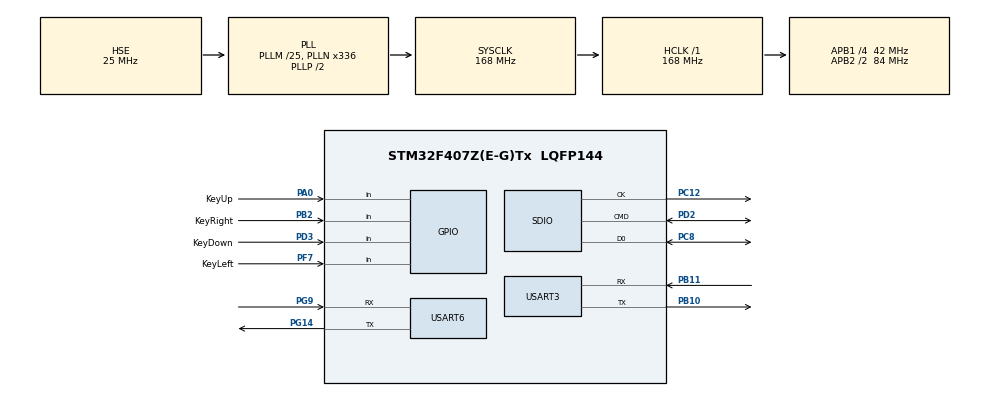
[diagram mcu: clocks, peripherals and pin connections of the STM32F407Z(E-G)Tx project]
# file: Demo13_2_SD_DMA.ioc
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Dma.Request0=SDIO_RX
Dma.Request1=SDIO_TX
Dma.SDIO_RX.0.Direction=DMA_PERIPH_TO_MEMORY
Dma.SDIO_RX.0.FIFOMode=DMA_FIFOMODE_ENABLE
Dma.SDIO_RX.0.FIFOThreshold=DMA_FIFO_THRESHOLD_FULL
Dma.SDIO_RX.0.Instance=DMA2_Stream3
Dma.SDIO_RX.0.MemBurst=DMA_MBURST_INC4
Dma.SDIO_RX.0.MemDataAlignment=DMA_MDATAALIGN_WORD
Dma.SDIO_RX.0.MemInc=DMA_MINC_ENABLE
Dma.SDIO_RX.0.Mode=DMA_PFCTRL
Dma.SDIO_RX.0.PeriphBurst=DMA_PBURST_INC4
Dma.SDIO_RX.0.PeriphDataAlignment=DMA_PDATAALIGN_WORD
Dma.SDIO_RX.0.PeriphInc=DMA_PINC_DISABLE
Dma.SDIO_RX.0.Priority=DMA_PRIORITY_MEDIUM
Dma.SDIO_TX.1.Direction=DMA_MEMORY_TO_PERIPH
Dma.SDIO_TX.1.FIFOMode=DMA_FIFOMODE_ENABLE
Dma.SDIO_TX.1.FIFOThreshold=DMA_FIFO_THRESHOLD_FULL
Dma.SDIO_TX.1.Instance=DMA2_Stream6
Dma.SDIO_TX.1.MemBurst=DMA_MBURST_INC4
Dma.SDIO_TX.1.MemDataAlignment=DMA_MDATAALIGN_WORD
Dma.SDIO_TX.1.MemInc=DMA_MINC_ENABLE
Dma.SDIO_TX.1.Mode=DMA_PFCTRL
Dma.SDIO_TX.1.PeriphBurst=DMA_PBURST_INC4
Dma.SDIO_TX.1.PeriphDataAlignment=DMA_PDATAALIGN_WORD
Dma.SDIO_TX.1.PeriphInc=DMA_PINC_DISABLE
Dma.SDIO_TX.1.Priority=DMA_PRIORITY_MEDIUM
Mcu.Family=STM32F4
Mcu.Name=STM32F407Z(E-G)Tx
Mcu.Package=LQFP144
NVIC.DMA2_Stream3_IRQn=true\:2\:0\:true\:false\:true\:false\:true\:true
NVIC.DMA2_Stream6_IRQn=true\:2\:0\:true\:false\:true\:false\:true\:true
NVIC.PriorityGroup=NVIC_PRIORITYGROUP_4
NVIC.SDIO_IRQn=true\:1\:0\:true\:false\:true\:true\:true\:true
PA0-WKUP.GPIO_Label=KeyUp
PA0-WKUP.GPIO_PuPd=GPIO_PULLUP
PA0-WKUP.Signal=GPIO_Input
PA13.Mode=Serial_Wire
PA13.Signal=SYS_JTMS-SWDIO
PA14.Mode=Serial_Wire
PA14.Signal=SYS_JTCK-SWCLK
PB10.Mode=Asynchronous
PB10.Signal=USART3_TX
PB11.Mode=Asynchronous
PB11.Signal=USART3_RX
PB2.GPIO_Label=KeyRight
PB2.GPIO_PuPd=GPIO_PULLUP
PB2.Signal=GPIO_Input
PC12.Mode=SD_1_bit
PC12.Signal=SDIO_CK
PC8.Mode=SD_1_bit
PC8.Signal=SDIO_D0
PD2.Mode=SD_1_bit
PD2.Signal=SDIO_CMD
PD3.GPIO_Label=KeyDown
PD3.GPIO_PuPd=GPIO_PULLUP
PD3.Signal=GPIO_Input
PF7.GPIO_Label=KeyLeft
PF7.GPIO_PuPd=GPIO_PULLUP
PF7.Signal=GPIO_Input
PG14.Mode=Asynchronous
PG14.Signal=USART6_TX
PG9.Mode=Asynchronous
PG9.Signal=USART6_RX
PH0-OSC_IN.Mode=HSE-External-Oscillator
PH0-OSC_IN.Signal=RCC_OSC_IN
PH1-OSC_OUT.Mode=HSE-External-Oscillator
PH1-OSC_OUT.Signal=RCC_OSC_OUT
ProjectManager.HeapSize=0x200
ProjectManager.StackSize=0x400
ProjectManager.TargetToolchain=STM32CubeIDE
RCC.48MHZClocksFreq_Value=48000000
RCC.AHBFreq_Value=168000000
RCC.APB1CLKDivider=RCC_HCLK_DIV4
RCC.APB1Freq_Value=42000000
RCC.APB1TimFreq_Value=84000000
RCC.APB2CLKDivider=RCC_HCLK_DIV2
RCC.APB2Freq_Value=84000000
RCC.APB2TimFreq_Value=168000000
RCC.CortexFreq_Value=168000000
RCC.HCLKFreq_Value=168000000
RCC.HSE_VALUE=25000000
RCC.HSI_VALUE=16000000
RCC.LSE_VALUE=32768
RCC.PLLM=25
RCC.PLLN=336
RCC.PLLQ=7
RCC.PLLSourceVirtual=RCC_PLLSOURCE_HSE
RCC.SYSCLKFreq_VALUE=168000000
RCC.SYSCLKSource=RCC_SYSCLKSOURCE_PLLCLK
RCC.VCOOutputFreq_Value=336000000
SDIO.ClockDiv=255
USART3.VirtualMode=VM_ASYNC
USART6.VirtualMode=VM_ASYNC
board=custom

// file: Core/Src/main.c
/* USER CODE BEGIN Header */
/**
  ******************************************************************************
  * @file           : main.c
  * @brief          : Main program body
  ******************************************************************************
  * @attention
  *
  * Copyright (c) 2025 STMicroelectronics.
  * All rights reserved.
  *
  * This software is licensed under terms that can be found in the LICENSE file
  * in the root directory of this software component.
  * If no LICENSE file comes with this software, it is provided AS-IS.
  *
  ******************************************************************************
  */
/* USER CODE END Header */
#include "main.h"
#include "dma.h"
#include "sdio.h"
#include "usart.h"
#include "gpio.h"

/* USER CODE BEGIN Includes */
#include "keyled.h"
#include <stdio.h>
/* USER CODE END Includes */

/* USER CODE BEGIN PV */
uint8_t SDBuf_TX[BLOCKSIZE];	//Data Sending Cache, BLOCKSIZE=512
uint8_t SDBuf_RX[BLOCKSIZE];	//Data Received Cache
/* USER CODE END PV */

void SystemClock_Config(void);

int main(void)
{

  /* MCU Configuration--------------------------------------------------------*/

  /* Reset of all peripherals, Initializes the Flash interface and the Systick. */
  HAL_Init();

  /* Configure the system clock */
  SystemClock_Config();

  /* Initialize all configured peripherals */
  MX_GPIO_Init();
  MX_DMA_Init();
  MX_USART6_UART_Init();
  MX_USART3_UART_Init();
  MX_SDIO_SD_Init();
  /* USER CODE BEGIN 2 */
  uint8_t startstr[] = "Demo13_2: SD card R/W-DMA. \r\n";
  HAL_UART_Transmit(&huart3,startstr,sizeof(startstr),0xFFFF);

  uint8_t startstr1[] = "Read/write SD card via DMA. \r\n\r\n";
  HAL_UART_Transmit(&huart3,startstr1,sizeof(startstr1),0xFFFF);

  //show menu
  printf("[S2]KeyUp   =SD card info. \r\n");
  printf("[S3]KeyDown =Erase 0-10 blocks. \r\n");
  printf("[S4]KeyLeft =Write block. \r\n");
  printf("[S1]KeyRight=Read block. \r\n\r\n");

  while(1)
  {
	  KEYS waitKey=ScanPressedKey(KEY_WAIT_ALWAYS);	//Waiting for the key

	  if (waitKey==KEY_UP)
		{
			SDCard_ShowInfo();
			printf("Reselect menu item or reset. \r\n");
		}
		else if (waitKey== KEY_DOWN)
		{
			SDCard_EraseBlocks();			//EraseBlocks 0-10
			printf("Reselect menu item or reset. \r\n");
		}
		else if (waitKey== KEY_LEFT)
			SDCard_TestWrite_DMA();
		else if (waitKey== KEY_RIGHT)
			SDCard_TestRead_DMA();

		HAL_Delay(500);
  }
  /* USER CODE END 2 */

  /* Infinite loop */
  while (1)
  {

  }
}

void SystemClock_Config(void)
{
  RCC_OscInitTypeDef RCC_OscInitStruct = {0};
  RCC_ClkInitTypeDef RCC_ClkInitStruct = {0};

  /** Configure the main internal regulator output voltage
  */
  __HAL_RCC_PWR_CLK_ENABLE();
  __HAL_PWR_VOLTAGESCALING_CONFIG(PWR_REGULATOR_VOLTAGE_SCALE1);

  /** Initializes the RCC Oscillators according to the specified parameters
  * in the RCC_OscInitTypeDef structure.
  */
  RCC_OscInitStruct.OscillatorType = RCC_OSCILLATORTYPE_HSE;
  RCC_OscInitStruct.HSEState = RCC_HSE_ON;
  RCC_OscInitStruct.PLL.PLLState = RCC_PLL_ON;
  RCC_OscInitStruct.PLL.PLLSource = RCC_PLLSOURCE_HSE;
  RCC_OscInitStruct.PLL.PLLM = 25;
  RCC_OscInitStruct.PLL.PLLN = 336;
  RCC_OscInitStruct.PLL.PLLP = RCC_PLLP_DIV2;
  RCC_OscInitStruct.PLL.PLLQ = 7;
  if (HAL_RCC_OscConfig(&RCC_OscInitStruct) != HAL_OK)
  {
    Error_Handler();
  }

  /** Initializes the CPU, AHB and APB buses clocks
  */
  RCC_ClkInitStruct.ClockType = RCC_CLOCKTYPE_HCLK|RCC_CLOCKTYPE_SYSCLK
                              |RCC_CLOCKTYPE_PCLK1|RCC_CLOCKTYPE_PCLK2;
  RCC_ClkInitStruct.SYSCLKSource = RCC_SYSCLKSOURCE_PLLCLK;
  RCC_ClkInitStruct.AHBCLKDivider = RCC_SYSCLK_DIV1;
  RCC_ClkInitStruct.APB1CLKDivider = RCC_HCLK_DIV4;
  RCC_ClkInitStruct.APB2CLKDivider = RCC_HCLK_DIV2;

  if (HAL_RCC_ClockConfig(&RCC_ClkInitStruct, FLASH_LATENCY_5) != HAL_OK)
  {
    Error_Handler();
  }
}

/* USER CODE BEGIN 4 */
/* HAL_SD_GetCardInfo(), Display SD card information */
void SDCard_ShowInfo()
{
	HAL_SD_CardInfoTypeDef cardInfo;  //SD card information structure
	HAL_StatusTypeDef res=HAL_SD_GetCardInfo(&hsd, &cardInfo);

	if (res!=HAL_OK)
	{
		printf("HAL_SD_GetCardInfo() error. \r\n");
		return;
	}

	printf("*** HAL_SD_GetCardInfo() info *** \r\n\r\n");

	printf("Card Type= %ld \r\n", cardInfo.CardType);
	printf("Card Version= %ld \r\n", cardInfo.CardVersion);
	printf("Card Class= %ld \r\n", cardInfo.Class);
	printf("Relative Card Address= %ld \r\n", cardInfo.RelCardAdd);
	printf("Block Count= %ld \r\n", cardInfo.BlockNbr);
	printf("Block Size(Bytes)= %ld \r\n", cardInfo.BlockSize);
	printf("LogiBlockCount= %ld \r\n", cardInfo.LogBlockNbr);
	printf("LogiBlockSize(Bytes)= %ld \r\n", cardInfo.LogBlockSize);

	uint32_t cap = cardInfo.BlockNbr/1024;	//KB
	cap	= cap*cardInfo.BlockSize;			//KB
	cap = cap/1024;							//MB

	printf("SD Card Capacity(MB)= %ld \r\n\r\n", cap);
}

/* HAL_SD_Erase(), Erase SD card Blocks*/
void SDCard_EraseBlocks()
{
	uint32_t BlockAddrStart=0; 	// Block 0��Addresses using block number
	uint32_t BlockAddrEnd=10; 	// Block 10

	printf("\r\n*** Erasing blocks *** \r\n\r\n");

	if (HAL_SD_Erase(&hsd,BlockAddrStart, BlockAddrEnd)==HAL_OK)
	{
		printf("Erasing blocks,OK. \r\n");
		printf("Blocks 0-10 is erased. \r\n");
	}
	else
		printf("Erasing blocks,fail. \r\n");

	HAL_SD_CardStateTypeDef cardState=HAL_SD_GetCardState(&hsd);
	printf("GetCardState()= %ld \r\n", cardState);

	// The following code has nothing to do with erasure and can be deleted.[wen]
	while(cardState != HAL_SD_CARD_TRANSFER)   //Wait for return to transmission status
	{
		HAL_Delay(1);
		cardState=HAL_SD_GetCardState(&hsd);
		return;			//Otherwise, it will not come out after entering the loop
	}
}

/* HAL_SD_WriteBlocks_DMA(), Write SD card */
void SDCard_TestWrite_DMA()	//DMA mode, test write
{
	printf("\r\n*** DMA Writing blocks *** \r\n\r\n");

	for(uint16_t i=0;i<BLOCKSIZE; i++)
		SDBuf_TX[i]=i; 						//generate data

	printf("Writing block 6. \r\n");
	printf("Data in [10:15] is: %d ",SDBuf_TX[10]);

	for (uint16_t j=11; j<=15;j++)
	{
		printf(", %d", SDBuf_TX[j]);
	}
	printf("\r\nHAL_SD_WriteBlocks_DMA() is to be called. \r\n");

	uint32_t BlockAddr=6;		//Block Address
	uint32_t BlockCount=1;		//Block Count
	HAL_SD_WriteBlocks_DMA(&hsd,SDBuf_TX,BlockAddr,BlockCount);  //can erase block automatically
}

/* HAL_SD_ReadBlocks_DMA(), Read SD card */
void SDCard_TestRead_DMA()  //test read
{
	printf("\r\n*** DMA Reading blocks *** \r\n\r\n");
	printf("\r\nHAL_SD_ReadBlocks_DMA() is to be called. \r\n");

	uint32_t BlockAddr=6;		//Block Address
	uint32_t BlockCount=1;		//Block Count
	HAL_SD_ReadBlocks_DMA(&hsd,SDBuf_RX,BlockAddr,BlockCount);
}

/* SD write callback func */
void HAL_SD_TxCpltCallback(SD_HandleTypeDef *hsd)
{
	printf("DMA write complete. \r\n");
	printf("HAL_SD_TxCpltCallback() is called. \r\n");
	printf("Reselect menu item or reset. \r\n");
}

/* SD read callback func */
void HAL_SD_RxCpltCallback(SD_HandleTypeDef *hsd)
{
	printf("DMA read complete. \r\n");
	printf("HAL_SD_RxCpltCallback() is called. \r\n");
	printf("Data in [10:15] is: %d\r\n",SDBuf_RX[10]);

	for (uint16_t j=11; j<=15;j++)
	{
		printf(", %d", SDBuf_RX[j]);
	}
	printf("\r\nReselect menu item or reset. \r\n");
}

int __io_putchar(int ch)
{
	HAL_UART_Transmit(&huart3,(uint8_t*)&ch,1,0xFFFF);
	return ch;
}
/* USER CODE END 4 */

void Error_Handler(void)
{
  __disable_irq();
  while (1)
  {
  }
}
